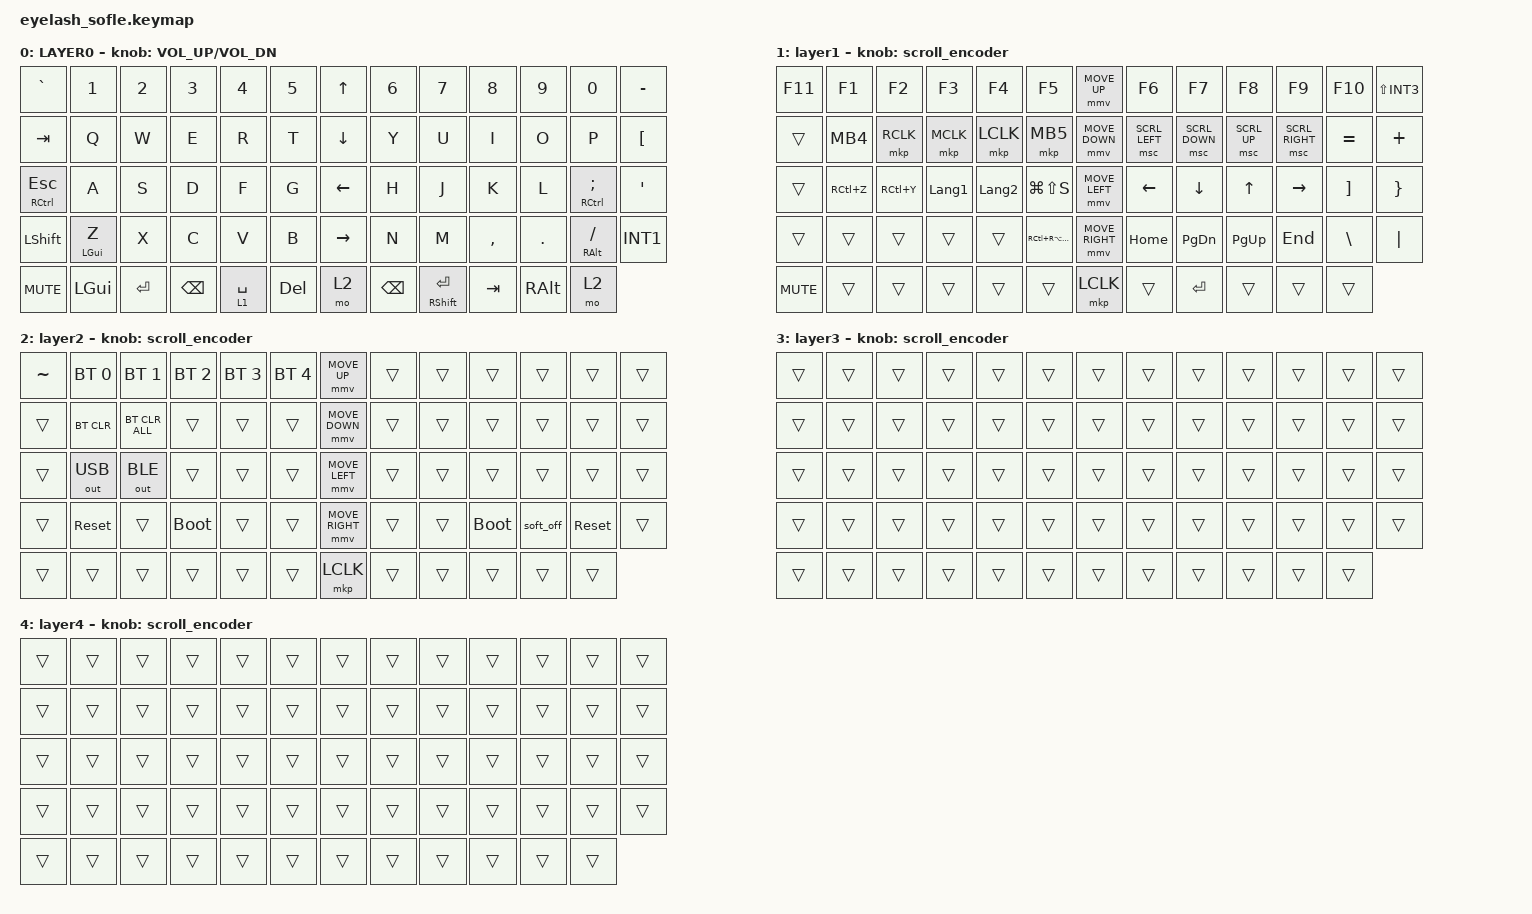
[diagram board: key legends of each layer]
#define ZMK_POINTING_DEFAULT_MOVE_VAL 1200  // 600
#define ZMK_POINTING_DEFAULT_SCRL_VAL 25   // 10

#include <input/processors.dtsi>
#include <zephyr/dt-bindings/input/input-event-codes.h>
#include <behaviors.dtsi>
#include <dt-bindings/zmk/bt.h>
#include <dt-bindings/zmk/keys.h>
#include <dt-bindings/zmk/outputs.h>
#include <dt-bindings/zmk/pointing.h>
#include <dt-bindings/zmk/rgb.h>

&mmv_input_listener { input-processors = <&zip_xy_scaler 2 1>; };

&msc_input_listener { input-processors = <&zip_scroll_scaler 2 1>; };

&msc {
    acceleration-exponent = <1>;      // 0
    time-to-max-speed-ms = <100>;       // 300
    delay-ms = <0>;                   // 0
};

&mmv {
    time-to-max-speed-ms = <500>;
    acceleration-exponent = <1>;
    trigger-period-ms = <16>;
};

&soft_off { hold-time-ms = <2000>; };

/ {
    scroll_encoder: scroll_encoder {
        compatible = "zmk,behavior-sensor-rotate";
        #sensor-binding-cells = <0>;
        bindings = <&msc SCRL_DOWN>, <&msc SCRL_UP>;

        tap-ms = <100>;
    };

    behaviors {
        scrl_up: scroll_up {
            compatible = "zmk,behavior-macro";
            #binding-cells = <0>;
            bindings = <&msc SCRL_UP>;
        };

        scrl_down: scroll_down {
            compatible = "zmk,behavior-macro";
            #binding-cells = <0>;
            bindings = <&msc SCRL_DOWN>;
        };

        scrl_left: scroll_left {
            compatible = "zmk,behavior-macro";
            #binding-cells = <0>;
            bindings = <&msc SCRL_LEFT>;
        };

        scrl_right: scroll_right {
            compatible = "zmk,behavior-macro";
            #binding-cells = <0>;
            bindings = <&msc SCRL_RIGHT>;
        };
    };

    combos {
        compatible = "zmk,combos";

        softoff {
            bindings = <&soft_off>;
            key-positions = <14 28 40>;
        };
    };

    macros {
        SHIFT_MCLK: SHIFT_MCLK {
            compatible = "zmk,behavior-macro";
            #binding-cells = <0>;
            bindings =
                <&macro_press>,
                <&kp LEFT_SHIFT>,
                <&macro_press>,
                <&mkp MB3>,
                <&macro_pause_for_release>,
                <&macro_release>,
                <&kp LEFT_SHIFT &mkp MB3>;

            label = "SHIFT_MCLK";
        };
    };

    keymap {
        compatible = "zmk,keymap";

        layer0 {
            bindings = <
&kp GRAVE     &kp N1     &kp N2          &kp N3           &kp N4           &kp N5             &kp UP_ARROW     &kp N6           &kp N7           &kp N8       &kp N9           &kp N0            &kp MINUS
&kp TAB       &kp Q      &kp W           &kp E            &kp R            &kp T              &kp DOWN_ARROW   &kp Y            &kp U            &kp I        &kp O            &kp P             &kp LEFT_BRACKET
&mt RCTRL ESC &kp A      &kp S           &kp D            &kp F            &kp G              &kp LEFT_ARROW   &kp H            &kp J            &kp K        &kp L            &mt RCTRL SEMI    &kp SINGLE_QUOTE
&kp LSHFT     &mt LGUI Z &kp X           &kp C            &kp V            &kp B              &kp RIGHT_ARROW  &kp N            &kp M            &kp COMMA    &kp DOT          &mt RALT  FSLH    &kp INT1
&kp C_MUTE    &kp LGUI   &kp ENTER       &kp BACKSPACE    &lt 1 SPACE      &kp DELETE         &mo 2            &kp BACKSPACE    &mt RSHFT ENTER  &kp TAB      &kp RALT         &mo 2
            >;

            sensor-bindings = <&inc_dec_kp C_VOLUME_UP C_VOL_DN>;
            display-name = "LAYER0";
        };

        layer_1 {
            bindings = <
&kp F11       &kp F1     &kp F2          &kp F3           &kp F4           &kp F5             &mmv MOVE_UP     &kp F6           &kp F7           &kp F8       &kp F9           &kp F10           &kp LS(INT3)
&trans        &kp MB4    &mkp RCLK       &mkp MCLK        &mkp LCLK        &mkp MB5           &mmv MOVE_DOWN   &msc SCRL_LEFT   &msc SCRL_DOWN   &msc SCRL_UP &msc SCRL_RIGHT  &kp EQUAL         &kp PLUS
&trans        &kp RC(Z)  &kp RC(Y)       &kp LANGUAGE_1   &kp LANGUAGE_2   &kp LG(LS(S))      &mmv MOVE_LEFT   &kp LEFT         &kp DOWN         &kp UP       &kp RIGHT        &kp RIGHT_BRACKET &kp RIGHT_BRACE
&trans        &trans     &trans          &trans           &trans           &kp RC(RA(DEL))    &mmv MOVE_RIGHT  &kp HOME         &kp PG_DN        &kp PG_UP    &kp END          &kp BACKSLASH     &kp PIPE
&kp C_MUTE    &trans     &trans          &trans           &trans           &trans             &mkp LCLK        &trans           &kp ENTER        &trans       &trans           &trans
            >;

            display-name = "layer1";
            sensor-bindings = <&scroll_encoder>;
        };

        layer_2 {
            bindings = <
&kp TILDE  &bt BT_SEL 0  &bt BT_SEL 1    &bt BT_SEL 2  &bt BT_SEL 3  &bt BT_SEL 4    &mmv MOVE_UP     &trans  &trans  &trans      &trans     &trans       &trans
&trans     &bt BT_CLR    &bt BT_CLR_ALL  &trans        &trans        &trans          &mmv MOVE_DOWN   &trans  &trans  &trans      &trans     &trans       &trans
&trans     &out OUT_USB  &out OUT_BLE    &trans        &trans        &trans          &mmv MOVE_LEFT   &trans  &trans  &trans      &trans     &trans       &trans
&trans     &sys_reset    &trans          &bootloader   &trans        &trans          &mmv MOVE_RIGHT  &trans  &trans  &bootloader &soft_off  &sys_reset   &trans
&trans     &trans        &trans          &trans        &trans        &trans          &mkp LCLK        &trans  &trans  &trans      &trans     &trans
            >;

            display-name = "layer2";
            sensor-bindings = <&scroll_encoder>;
        };

        layer_3 {
            bindings = <
&trans  &trans  &trans  &trans  &trans  &trans    &trans  &trans  &trans  &trans  &trans  &trans  &trans
&trans  &trans  &trans  &trans  &trans  &trans    &trans  &trans  &trans  &trans  &trans  &trans  &trans
&trans  &trans  &trans  &trans  &trans  &trans    &trans  &trans  &trans  &trans  &trans  &trans  &trans
&trans  &trans  &trans  &trans  &trans  &trans    &trans  &trans  &trans  &trans  &trans  &trans  &trans
&trans  &trans  &trans  &trans  &trans  &trans    &trans  &trans  &trans  &trans  &trans  &trans
            >;

            display-name = "layer3";
            sensor-bindings = <&scroll_encoder>;
        };

        layer_4 {
            bindings = <
&trans  &trans  &trans  &trans  &trans  &trans    &trans  &trans  &trans  &trans  &trans  &trans  &trans
&trans  &trans  &trans  &trans  &trans  &trans    &trans  &trans  &trans  &trans  &trans  &trans  &trans
&trans  &trans  &trans  &trans  &trans  &trans    &trans  &trans  &trans  &trans  &trans  &trans  &trans
&trans  &trans  &trans  &trans  &trans  &trans    &trans  &trans  &trans  &trans  &trans  &trans  &trans
&trans  &trans  &trans  &trans  &trans  &trans    &trans  &trans  &trans  &trans  &trans  &trans
            >;

            display-name = "layer4";
            sensor-bindings = <&scroll_encoder>;
        };
    };
};
